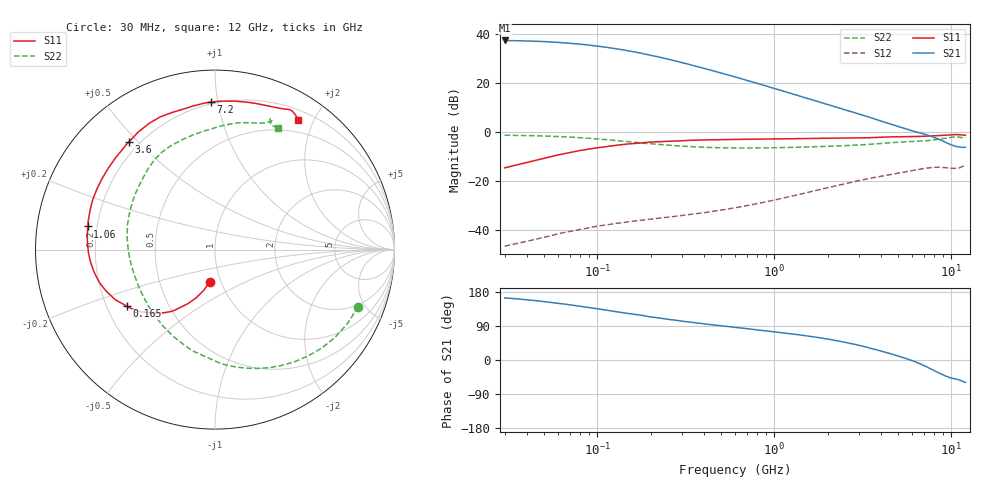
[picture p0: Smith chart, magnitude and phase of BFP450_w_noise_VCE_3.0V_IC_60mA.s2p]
! (c) 2015  Infineon Technologies AG, Munich
! Infineon Technologies  Discrete & RF Semiconductors
! BFP450
! VCE =  3.0 V,  IC =  60 mA
! Common Emitter S-Parameters:  Nov 2015
# GHz  S  MA  R  50
!  f  S11  S21  S12  S22
! GHz  MAG  ANG  MAG  ANG  MAG  ANG  MAG  ANG
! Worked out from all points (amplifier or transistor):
!   239 points, 30 MHz to 12 GHz, reference 50 ohm
!   highest |S21| = 37.3 dB at 30 MHz (marker M1)
!   |S21| within 3 dB of that: start of sweep to 118.2 MHz
!   unconditionally stable (mu >= 1): 1.105 GHz to end of sweep
!   at 300 MHz: K = 0.59, MSG = 31.2 dB, |S12| = -34.1 dB
!   at 1.88 GHz: K = 1.08, MAG = 15.7 dB, |S12| = -23.2 dB
!   at 12 GHz: K = 1.09, MAG = 1.9 dB, |S12| = -13.6 dB
!   lowest NFmin = 1.69 dB at 450 MHz
!   S11 on the Smith chart (normalised r, x): 30 MHz: 0.88, -0.33; 165 MHz: 0.28, -0.27; 1.06 GHz: 0.16, +0.09; 3.6 GHz: 0.16, +0.47; 7.2 GHz: 0.19, +0.95; 12 GHz: 0.32, +1.79
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0.03  0.1853 -99.4  73.31 163.9  0.0047 76.2  0.8586 -21.7
0.04  0.2384 -105.8  71.6 159.0  0.0059 72.9  0.8457 -28.9
0.05  0.2911 -111.6  69.56 154.1  0.0071 68.7  0.829 -36.0
0.06  0.3396 -116.9  66.97 149.9  0.0084 67.0  0.8095 -42.6
0.07  0.3811 -121.4  64.3 145.5  0.0094 64.7  0.7871 -48.9
0.085  0.4334 -126.7  60.3 140.2  0.0107 61.4  0.754 -57.5
0.1  0.4758 -132.0  56.36 135.2  0.012 58.9  0.7228 -65.6
0.12  0.5187 -137.7  51.47 129.5  0.0132 55.7  0.684 -75.0
0.15  0.5701 -144.7  45.07 122.4  0.0148 52.9  0.6352 -87.2
0.165  0.5842 -147.4  42.41 120.1  0.0154 52.0  0.613 -91.6
0.2  0.6219 -153.3  36.54 113.6  0.0167 50.0  0.5768 -103.0
0.24  0.6431 -158.0  31.71 108.8  0.018 49.2  0.5445 -112.6
0.3  0.6678 -163.7  25.96 102.5  0.0198 49.1  0.5144 -124.5
0.36  0.6807 -168.0  21.97 98.1  0.0215 49.8  0.496 -133.2
0.45  0.6931 -172.8  17.66 92.6  0.0241 51.0  0.481 -143.4
0.6  0.7053 -178.6  13.2 86.0  0.0285 53.2  0.4721 -155.0
1.06  0.7203 169.7  7.244 73.2  0.0429 55.5  0.4783 -175.0
1.64  0.7339 158.9  4.51 61.6  0.0617 53.0  0.4973 169.9
3.6  0.7684 128.6  1.894 29.4  0.1165 32.7  0.5661 135.1
4.5  0.7933 117.7  1.451 16.8  0.1347 23.5  0.603 124.1
7.2  0.8215 91.6  0.883 -17.4  0.1826 -4.3  0.662 95.8
12  0.8591 57.3  0.487 -59.3  0.2101 -40.8  0.7626 62.8
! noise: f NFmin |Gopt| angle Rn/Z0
0.45  1.69  0.56  -173  0.06
0.9  1.74  0.58  -167  0.07
1.9  1.84  0.62  -151  0.12
2.4  1.92  0.62  -143  0.16
